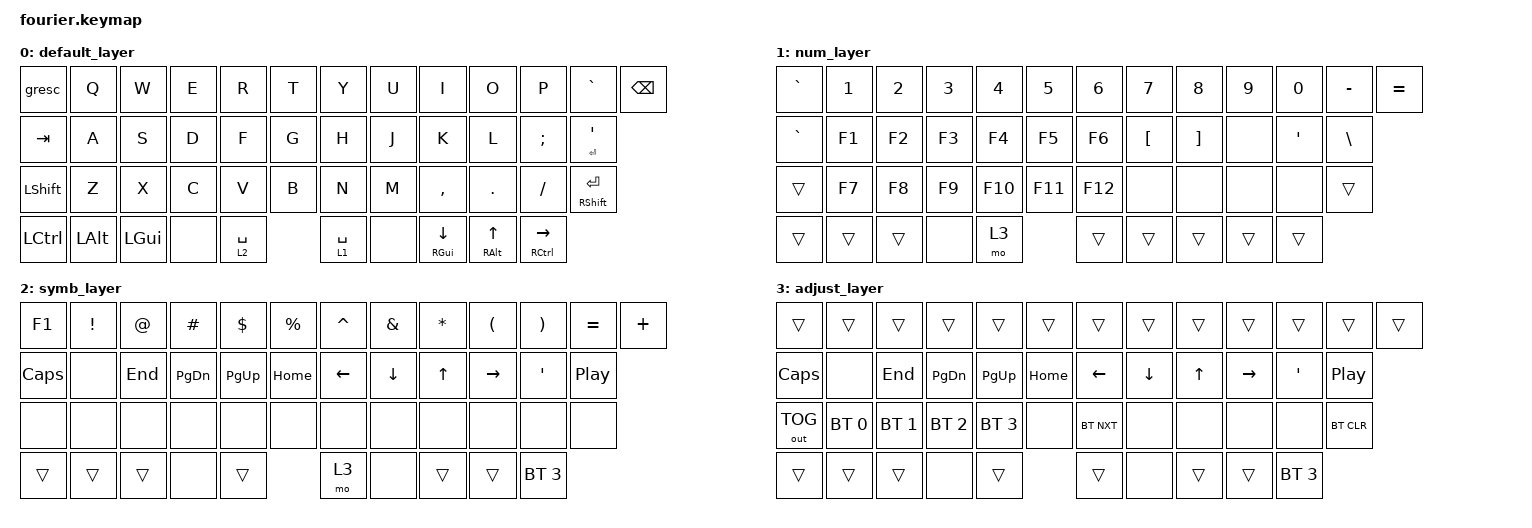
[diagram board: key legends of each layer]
/*
 * Copyright (c) 2021 The ZMK Contributors
 *
 * SPDX-License-Identifier: MIT
 */

#include <behaviors.dtsi>
#include <dt-bindings/zmk/bt.h>
#include <dt-bindings/zmk/keys.h>
#include <dt-bindings/zmk/rgb.h>
#include <dt-bindings/zmk/outputs.h>

/ {
    behaviors {

        bht: balanced_hold_tap {
            compatible = "zmk,behavior-hold-tap";
            label = "HOLD_TAP";
            #binding-cells = <2>;
            tapping-term-ms = <200>;    // <---[[moderate duration]]
            quick-tap-ms = <0>;
            flavor = "balanced";
            bindings = <&kp>, <&kp>;
        };

        nht: number_hold_tap {
            compatible = "zmk,behavior-hold-tap";
            label = "NUM_HOLD_TAP";
            #binding-cells = <2>;
            tapping-term-ms = <275>;    // <---[[slightly higher than moderate duration]]
            quick-tap-ms = <0>;
            flavor = "balanced";
            bindings = <&kp>, <&kp>;
        };
    };


    keymap {
        compatible = "zmk,keymap";

// ----------------------------------------------      ----------------------------------------------
// | ESC  |  Q  |  W  |  E  |  R  |  T  |              |  Y  |  U  |  I  |  O  |  P  | [ | BKSP / ] |
// | TAB    |  A  |  S  |  D   |  F  |  G  |             |  H  |  J  |  K  |  L  |  '  |    ENTER   |
// | SHIFT     |  Z  |  X  |  C  |  V  |  B  |              |  N  |  M  |  ,  |  .  |  /  |  RSHFT/ENT  |
// | LCTRL   | LALT| LGUI |   BKSP/L2        |          |   SPACE/L1    |  RGUI  |  RALT  |RCTRL|
// -------------------------------------------        -----------------------------------------------

        default_layer {
            bindings = <
    &gresc           &kp Q     &kp W        &kp E      &kp R     &kp T       /**/ &kp Y       &kp U      &kp I          &kp O         &kp P     &kp GRAVE  &kp BKSP
    &kp TAB          &kp A     &kp S        &kp D      &kp F     &kp G       /**/ &kp H       &kp J      &kp K          &kp L         &kp SEMI  &nht ENTER SQT
    &kp LSHFT        &kp Z     &kp X        &kp C      &kp V     &kp B       /**/ &kp N       &kp M      &kp COMMA      &kp DOT       &kp FSLH  &mt RSHFT ENTER
    &kp LCTRL        &kp LALT  &kp LGUI     &none      &lt 2 SPACE           /**/ &lt 1 SPACE &none      &mt RGUI DOWN  &mt RALT UP   &mt RCTRL RIGHT
            >;
        };

// ----------------------------------------------      ----------------------------------------------
// | `    |  1  |  2  |  3  |  4  |  5  |              |  6  |  7  |  8  |  9  | 0 |  -  |  =  |
// | `      |     |   |     |   |   |             |    |  [  |  ]  |    |  '  |      \    |
// | trans     |  USB/BT   |     |     |    |   |              |     |     |    |     |     |  trans  |
// | trans   | trans| trans |           |             |   (being held)   | trans | trans | trans|trans|
// -------------------------------------------        -----------------------------------------------

        num_layer {
            bindings = <
    &kp GRAVE     &kp N1    &kp N2    &kp N3     &kp N4  &kp N5   /**/ &kp N6     &kp N7      &kp N8      &kp N9       &kp N0     &kp MINUS  &kp EQUAL
    &kp GRAVE  &kp F1    &kp F2    &kp F3     &kp F4     &kp F5   /**/ &kp F6     &kp LBKT    &kp RBKT    &none        &kp SQT    &kp BSLH
    &trans     &kp F7    &kp F8    &kp F9     &kp F10    &kp F11  /**/ &kp F12    &none       &none       &none        &none      &trans
    &trans     &trans    &trans    &none      &mo 3              /**/ &trans                 &trans      &trans       &trans     &trans
            >;
        };

// ----------------------------------------------      ----------------------------------------------
// | F1   |  F2 |  F3 |  F4 | F5  |  F6 |              |  F7     |    F8    |  F9  |    F1O   |   F11  |  F12  |  DEL  |
// | CAP      |     | End| PgDn | PgUp |  Home   |           |  Left   |  Down   |  Up   |  Right   |   '    |    Play/Pause   |
// | trans     |  BT #1  |  BT #2   | BT #3 |      |     |      |      |    |    |    |    |BT Clear |
// | trans   | trans| trans |   (being held)     |       |                  | trans | trans | BT #4  |
// -------------------------------------------        -----------------------------------------------

        symb_layer {
            bindings = <
    &kp F1        &kp EXCL        &kp AT          &kp HASH       &kp DLLR  &kp PRCNT    /**/ &kp CARET     &kp AMPS     &kp STAR    &kp LPAR   &kp RPAR    &kp EQUAL  &kp PLUS
    &kp CAPS      &none           &kp END         &kp PG_DN      &kp PG_UP &kp HOME  /**/    &kp LEFT   &kp DOWN   &kp UP    &kp RIGHT &kp SQT    &kp C_PP
    &none         &none            &none          &none          &none     &none   /**/      &none      &none      &none     &none     &none      &none
    &trans        &trans          &trans          &none            &trans                 /**/ &mo 3     &none      &trans    &trans    &bt BT_SEL 3
            >;
        };

        adjust_layer {
            bindings = <
    &trans        &trans          &trans          &trans           &trans       &trans    /**/ &trans     &trans     &trans    &trans  &trans    &trans  &trans
    &kp CAPS      &none           &kp END         &kp PG_DN        &kp PG_UP    &kp HOME  /**/ &kp LEFT   &kp DOWN   &kp UP    &kp RIGHT &kp SQT    &kp C_PP
    &out OUT_TOG  &bt BT_SEL 0    &bt BT_SEL 1    &bt BT_SEL 2     &bt BT_SEL 3 &none     /**/ &bt BT_NXT      &none      &none     &none     &none      &bt BT_CLR
    &trans        &trans          &trans          &none            &trans                 /**/ &trans     &none      &trans    &trans    &bt BT_SEL 3
            >;
        };
    };
};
